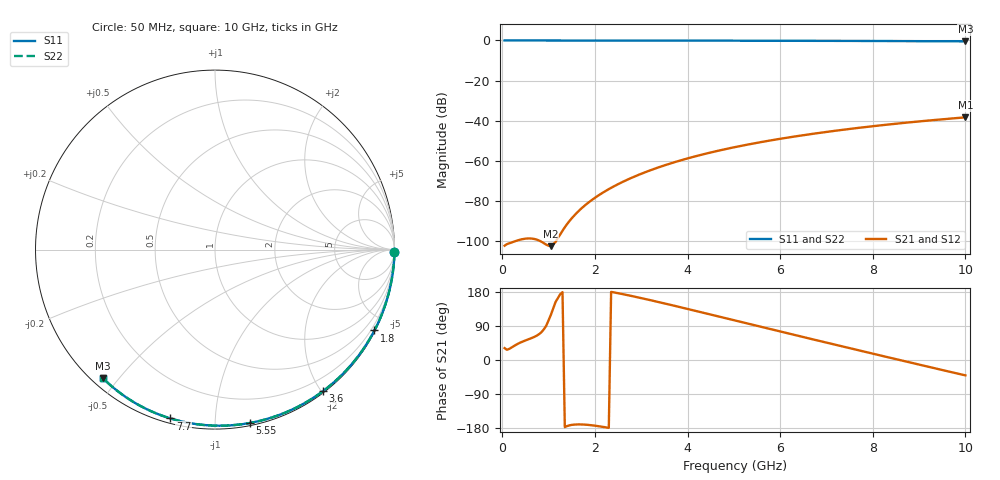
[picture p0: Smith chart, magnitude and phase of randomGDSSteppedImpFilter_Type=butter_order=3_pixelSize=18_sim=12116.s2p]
! freq	dB(S11)	phase(S11)	dB(S12)	phase(S12)
!  dB(S21)	phase(S21)	dB(S22)	phase(S22)
!S-par simulation data
#  GHz  S  DB  R 50
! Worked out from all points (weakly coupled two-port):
!   200 points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, 50 MHz to 10 GHz, reference 50 ohm
!   highest |S21| = -38.39 dB at 10 GHz (marker M1); lowest = -102.7 dB at 1.05 GHz (marker M2)
!   lowest |S11| = -0.4 dB at 10 GHz (marker M3), VSWR 39.17, Z = 1.54 - j22.7 ohm
!   |S11| at or under -10 dB: nowhere
!   |S22| runs from -0.4 to 0.0 dB; largest |S21 - S12| = 0
!   S11 on the Smith chart (normalised r, x): 50 MHz: open; 1.8 GHz: 0.04, -4.18; 3.6 GHz: 0.02, -2.03; 5.55 GHz: 0.02, -1.22; 7.7 GHz: 0.02, -0.77; 10 GHz: 0.03, -0.45
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0.05  -0.00 -0.8  -102.46 31.3  -102.46 31.3  -0.00 -0.8
0.55  -0.01 -8.3  -98.85 53.9  -98.85 53.9  -0.01 -8.3
1.05  -0.02 -15.8  -102.70 119.5  -102.70 119.5  -0.02 -15.8
1.75  -0.03 -26.1  -83.01 -170.3  -83.01 -170.3  -0.03 -26.1
1.8  -0.03 -26.9  -82.03 -170.7  -82.03 -170.7  -0.03 -26.9
1.9  -0.04 -28.3  -80.22 -171.8  -80.22 -171.8  -0.04 -28.3
2.25  -0.04 -33.4  -74.87 -178.0  -74.87 -178.0  -0.04 -33.4
2.55  -0.05 -37.8  -71.16 175.1  -71.16 175.1  -0.05 -37.8
2.95  -0.06 -43.5  -67.02 164.7  -67.02 164.7  -0.06 -43.5
3.4  -0.07 -49.8  -63.15 152.2  -63.15 152.2  -0.07 -49.8
3.6  -0.07 -52.6  -61.63 146.5  -61.63 146.5  -0.07 -52.6
3.9  -0.08 -56.7  -59.54 137.7  -59.54 137.7  -0.08 -56.7
4.3  -0.09 -62.1  -57.06 125.9  -57.06 125.9  -0.09 -62.1
5.05  -0.11 -72.1  -53.12 103.5  -53.12 103.5  -0.11 -72.1
5.55  -0.13 -78.5  -50.89 88.6  -50.89 88.6  -0.13 -78.5
6.1  -0.15 -85.5  -48.72 72.3  -48.72 72.3  -0.15 -85.5
6.7  -0.18 -92.9  -46.62 54.7  -46.62 54.7  -0.18 -92.9
7.2  -0.21 -98.9  -45.05 40.0  -45.05 40.0  -0.21 -98.9
7.7  -0.24 -104.8  -43.61 25.5  -43.61 25.5  -0.24 -104.8
8.35  -0.29 -112.4  -41.92 6.6  -41.92 6.6  -0.29 -112.4
9.15  -0.36 -121.6  -40.09 -16.4  -40.09 -16.4  -0.36 -121.6
10  -0.44 -131.2  -38.39 -40.6  -38.39 -40.6  -0.44 -131.2
